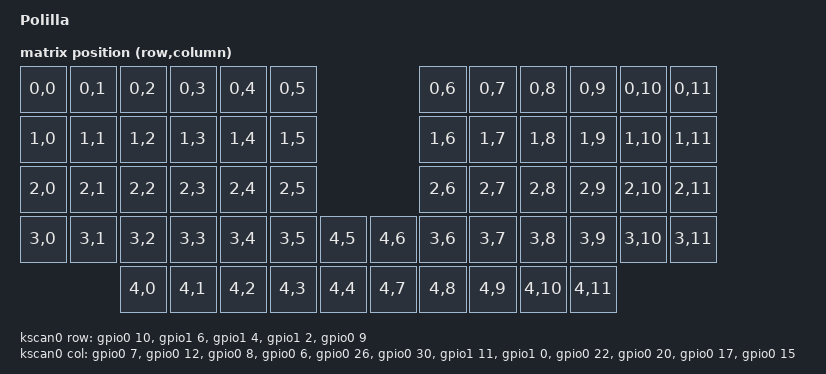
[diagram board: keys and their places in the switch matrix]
/*
 * Copyright (c) 2020 The ZMK Contributors
 * SPDX-License-Identifier: MIT
 */

/dts-v1/;
#include <nordic/nrf52840_qiaa.dtsi>
#include <dt-bindings/zmk/matrix_transform.h>

/ {
	model = "Polilla";

	chosen {
		zephyr,code-partition = &code_partition;
		zephyr,sram = &sram0;
		zephyr,flash = &flash0;
		zmk,kscan = &kscan0;
		zmk,matrix_transform = &default_transform;
	};

	default_transform: keymap_transform_0 {
		compatible = "zmk,matrix-transform";
		columns = <12>;
		rows = <5>;
		map = <
RC(0,0) RC(0,1) RC(0,2) RC(0,3) RC(0,4) RC(0,5)                 RC(0,6) RC(0,7) RC(0,8) RC(0,9) RC(0,10) RC(0,11)
RC(1,0) RC(1,1) RC(1,2) RC(1,3) RC(1,4) RC(1,5)                 RC(1,6) RC(1,7) RC(1,8) RC(1,9) RC(1,10) RC(1,11)
RC(2,0) RC(2,1) RC(2,2) RC(2,3) RC(2,4) RC(2,5)                 RC(2,6) RC(2,7) RC(2,8) RC(2,9) RC(2,10) RC(2,11)
RC(3,0) RC(3,1) RC(3,2) RC(3,3) RC(3,4) RC(3,5) RC(4,5) RC(4,6) RC(3,6) RC(3,7) RC(3,8) RC(3,9) RC(3,10) RC(3,11)
            	RC(4,0) RC(4,1) RC(4,2) RC(4,3) RC(4,4) RC(4,7) RC(4,8) RC(4,9) RC(4,10) RC(4,11)
		>;
	};

	kscan0: kscan {
		compatible = "zmk,kscan-gpio-matrix";
		label = "KSCAN";
		diode-direction = "row2col";
		row-gpios
			= <&gpio0 10 GPIO_ACTIVE_HIGH>
			, <&gpio1 6  GPIO_ACTIVE_HIGH>
			, <&gpio1 4  GPIO_ACTIVE_HIGH>
			, <&gpio1 2  GPIO_ACTIVE_HIGH>
			, <&gpio0 9  GPIO_ACTIVE_HIGH>
			;
		col-gpios
			= <&gpio0 7  (GPIO_ACTIVE_HIGH | GPIO_PULL_DOWN)>
			, <&gpio0 12 (GPIO_ACTIVE_HIGH | GPIO_PULL_DOWN)>
			, <&gpio0 8  (GPIO_ACTIVE_HIGH | GPIO_PULL_DOWN)>
			, <&gpio0 6  (GPIO_ACTIVE_HIGH | GPIO_PULL_DOWN)>
			, <&gpio0 26 (GPIO_ACTIVE_HIGH | GPIO_PULL_DOWN)>
			, <&gpio0 30 (GPIO_ACTIVE_HIGH | GPIO_PULL_DOWN)>
			, <&gpio1 11 (GPIO_ACTIVE_HIGH | GPIO_PULL_DOWN)>
			, <&gpio1 0  (GPIO_ACTIVE_HIGH | GPIO_PULL_DOWN)>
			, <&gpio0 22 (GPIO_ACTIVE_HIGH | GPIO_PULL_DOWN)>
			, <&gpio0 20 (GPIO_ACTIVE_HIGH | GPIO_PULL_DOWN)>
			, <&gpio0 17 (GPIO_ACTIVE_HIGH | GPIO_PULL_DOWN)>
			, <&gpio0 15 (GPIO_ACTIVE_HIGH | GPIO_PULL_DOWN)>
			;
	};

	vbatt {
		compatible = "zmk,battery-voltage-divider";
		label = "BATTERY";
		io-channels = <&adc 2>;
		output-ohms = <820000>;
		full-ohms = <(2000000 + 820000)>;
	};
};

&adc {
	status = "okay";
};

&gpiote {
	status = "okay";
};

&gpio0 {
	status = "okay";
};

&gpio1 {
	status = "okay";
};

&uart0 {
	compatible = "nordic,nrf-uarte";
	status = "okay";
	current-speed = <115200>;
	tx-pin = <19>;
	rx-pin = <21>;
	rts-pin = <23>;
	cts-pin = <25>;
};

&usbd {
	compatible = "nordic,nrf-usbd";
	status = "okay";
};


&flash0 {
	/*
	 * For more information, see:
	 * http://docs.zephyrproject.org/latest/devices/dts/flash_partitions.html
	 */
	partitions {
		compatible = "fixed-partitions";
		#address-cells = <1>;
		#size-cells = <1>;

		sd_partition: partition@0 {
			label = "softdevice";
			reg = <0x00000000 0x00026000>;
		};
		code_partition: partition@26000 {
			label = "code_partition";
			reg = <0x00026000 0x000c6000>;
		};

		/*
		 * The flash starting at 0x000ec000 and ending at
		 * 0x000f3fff is reserved for use by the application.
		 */

		/*
		 * Storage partition will be used by FCB/LittleFS/NVS
		 * if enabled.
		 */
		storage_partition: partition@ec000 {
			label = "storage";
			reg = <0x000ec000 0x00008000>;
		};

		boot_partition: partition@f4000 {
			label = "adafruit_boot";
			reg = <0x000f4000 0x0000c000>;
		};
	};
};
